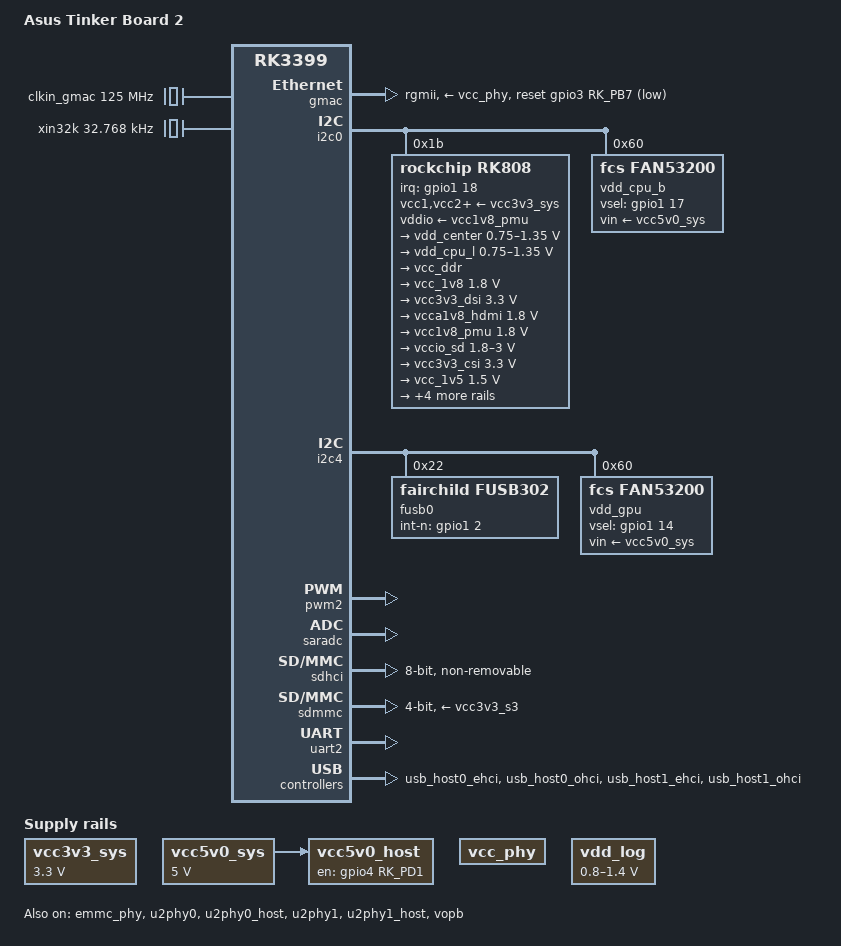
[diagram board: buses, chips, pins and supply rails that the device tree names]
// SPDX-License-Identifier: (GPL-2.0+ OR MIT)
/*
 * Copyright (c) 2016 Fuzhou Rockchip Electronics Co., Ltd
 */

/dts-v1/;
#include <dt-bindings/pwm/pwm.h>
#include "rk3399.dtsi"
#include "rk3399-op1-opp.dtsi"

/ {
	model = "Asus Tinker Board 2";
	compatible = "rockchip,rk3399-evb", "rockchip,rk3399";

	chosen {
		stdout-path = "serial2:1500000n8";
	};
	
	clkin_gmac: external-gmac-clock {
		compatible = "fixed-clock";
		clock-frequency = <125000000>;
		clock-output-names = "clkin_gmac";
		#clock-cells = <0>;
	};

	vcc3v3_sys: vcc3v3-sys {
		compatible = "regulator-fixed";
		regulator-name = "vcc3v3_sys";
		regulator-always-on;
		regulator-boot-on;
		regulator-min-microvolt = <3300000>;
		regulator-max-microvolt = <3300000>;
	};

	vcc5v0_host: vcc5v0-host-regulator {
		compatible = "regulator-fixed";
		enable-active-high;
		gpio = <&gpio4 RK_PD1 GPIO_ACTIVE_HIGH>;
		pinctrl-names = "default";
		pinctrl-0 = <&vcc5v0_host_en>;
		regulator-name = "vcc5v0_host";
		vin-supply = <&vcc5v0_sys>;
	};

	vcc5v0_sys: vcc5v0-sys {
		compatible = "regulator-fixed";
		regulator-name = "vcc5v0_sys";
		regulator-always-on;
		regulator-boot-on;
		regulator-min-microvolt = <5000000>;
		regulator-max-microvolt = <5000000>;
	};
	
	vcc_phy: vcc-phy-regulator {
		compatible = "regulator-fixed";
		regulator-name = "vcc_phy";
		regulator-always-on;
		regulator-boot-on;
	};
	
	vdd_log: vdd-log {
		compatible = "pwm-regulator";
		pwms = <&pwm2 0 25000 1>;
		regulator-name = "vdd_log";
		regulator-min-microvolt = <800000>;
		regulator-max-microvolt = <1400000>;
		regulator-always-on;
		regulator-boot-on;

		/* for rockchip boot on */
		rockchip,pwm_id= <2>;
		rockchip,pwm_voltage = <900000>;
	};
	
	xin32k: xin32k {
		compatible = "fixed-clock";
		clock-frequency = <32768>;
		clock-output-names = "xin32k";
		#clock-cells = <0>;
	};
};

&cpu_l0 {
	cpu-supply = <&vdd_cpu_l>;
};

&cpu_l1 {
	cpu-supply = <&vdd_cpu_l>;
};

&cpu_l2 {
	cpu-supply = <&vdd_cpu_l>;
};

&cpu_l3 {
	cpu-supply = <&vdd_cpu_l>;
};

&cpu_b0 {
	cpu-supply = <&vdd_cpu_b>;
};

&cpu_b1 {
	cpu-supply = <&vdd_cpu_b>;
};

&emmc_phy {
	status = "okay";
};

&gmac {
	assigned-clocks = <&cru SCLK_RMII_SRC>;
	assigned-clock-parents = <&clkin_gmac>;
	clock_in_out = "input";
	phy-supply = <&vcc_phy>;
	phy-mode = "rgmii";
	pinctrl-names = "default";
	pinctrl-0 = <&rgmii_pins>;
	snps,reset-gpio = <&gpio3 RK_PB7 GPIO_ACTIVE_LOW>;
	snps,reset-active-low;
	snps,reset-delays-us = <0 16000 72000>;
	tx_delay = <0x25>;
	rx_delay = <0x20>;
	wakeup-enable = "0";
	status = "okay";
};

&i2c0 {
	status = "okay";

	rk808: pmic@1b {
		compatible = "rockchip,rk808";
		reg = <0x1b>;
		interrupt-parent = <&gpio1>;
		interrupts = <18 IRQ_TYPE_LEVEL_LOW>;
		pinctrl-names = "default";
		pinctrl-0 = <&pmic_int_l>;
		rockchip,system-power-controller;
		wakeup-source;
		#clock-cells = <1>;
		clock-output-names = "rk808-clkout1", "rk808-clkout2";

		vcc1-supply = <&vcc3v3_sys>;
		vcc2-supply = <&vcc3v3_sys>;
		vcc3-supply = <&vcc3v3_sys>;
		vcc4-supply = <&vcc3v3_sys>;
		vcc6-supply = <&vcc3v3_sys>;
		vcc7-supply = <&vcc3v3_sys>;
		vcc8-supply = <&vcc3v3_sys>;
		vcc9-supply = <&vcc3v3_sys>;
		vcc10-supply = <&vcc3v3_sys>;
		vcc11-supply = <&vcc3v3_sys>;
		vcc12-supply = <&vcc3v3_sys>;
		vddio-supply = <&vcc1v8_pmu>;

		regulators {
			vdd_center: DCDC_REG1 {
				regulator-name = "vdd_center";
				regulator-min-microvolt = <750000>;
				regulator-max-microvolt = <1350000>;
				regulator-ramp-delay = <6001>;
				regulator-always-on;
				regulator-boot-on;
				regulator-state-mem {
					regulator-on-in-suspend;
					regulator-suspend-microvolt = <900000>;
				};
			};

			vdd_cpu_l: DCDC_REG2 {
				regulator-name = "vdd_cpu_l";
				regulator-min-microvolt = <750000>;
				regulator-max-microvolt = <1350000>;
				regulator-ramp-delay = <6001>;
				regulator-always-on;
				regulator-boot-on;
				regulator-state-mem {
					regulator-off-in-suspend;
				};
			};

			vcc_ddr: DCDC_REG3 {
				regulator-name = "vcc_ddr";
				regulator-always-on;
				regulator-boot-on;
				regulator-state-mem {
					regulator-on-in-suspend;
				};
			};

			vcc_1v8: DCDC_REG4 {
				regulator-name = "vcc_1v8";
				regulator-min-microvolt = <1800000>;
				regulator-max-microvolt = <1800000>;
				regulator-always-on;
				regulator-boot-on;
				regulator-state-mem {
					regulator-on-in-suspend;
					regulator-suspend-microvolt = <1800000>;
				};
			};

			vcc3v3_dsi: LDO_REG1 {
				regulator-name = "vcc3v3_dsi";
				regulator-min-microvolt = <3300000>;
				regulator-max-microvolt = <3300000>;
				regulator-always-on;
				regulator-boot-on;
				regulator-state-mem {
					regulator-off-in-suspend;
				};
			};

			vcca1v8_hdmi: LDO_REG2 {
				regulator-name = "vcca1v8_hdmi";
				regulator-min-microvolt = <1800000>;
				regulator-max-microvolt = <1800000>;
				regulator-always-on;
				regulator-boot-on;
				regulator-state-mem {
					regulator-off-in-suspend;
				};
			};

			vcc1v8_pmu: LDO_REG3 {
				regulator-name = "vcc1v8_pmu";
				regulator-min-microvolt = <1800000>;
				regulator-max-microvolt = <1800000>;
				regulator-always-on;
				regulator-boot-on;
				regulator-state-mem {
					regulator-on-in-suspend;
					regulator-suspend-microvolt = <1800000>;
				};
			};

			vccio_sd: LDO_REG4 {
				regulator-name = "vccio_sd";
				regulator-min-microvolt = <1800000>;
				regulator-max-microvolt = <3000000>;
				regulator-always-on;
				regulator-boot-on;
				regulator-state-mem {
					regulator-on-in-suspend;
					regulator-suspend-microvolt = <3000000>;
				};
			};

			vcc3v3_csi: LDO_REG5 {
				regulator-name = "vcc3v3_csi";
				regulator-min-microvolt = <3300000>;
				regulator-max-microvolt = <3300000>;
				regulator-always-on;
				regulator-boot-on;
				regulator-state-mem {
					regulator-off-in-suspend;
				};
			};

			vcc_1v5: LDO_REG6 {
				regulator-name = "vcc_1v5";
				regulator-min-microvolt = <1500000>;
				regulator-max-microvolt = <1500000>;
				regulator-always-on;
				regulator-boot-on;
				regulator-state-mem {
					regulator-on-in-suspend;
					regulator-suspend-microvolt = <1500000>;
				};
			};

			vcca0v9_hdmi: LDO_REG7 {
				regulator-name = "vcca0v9_hdmi";
				regulator-min-microvolt = <900000>;
				regulator-max-microvolt = <900000>;
				regulator-always-on;
				regulator-boot-on;
				regulator-state-mem {
					regulator-off-in-suspend;
				};
			};

			vcc_3v0: LDO_REG8 {
				regulator-name = "vcc_3v0";
				regulator-min-microvolt = <3000000>;
				regulator-max-microvolt = <3000000>;
				regulator-always-on;
				regulator-boot-on;
				regulator-state-mem {
					regulator-on-in-suspend;
					regulator-suspend-microvolt = <3000000>;
				};
			};

			vcc3v3_s3: SWITCH_REG1 {
				regulator-name = "vcc3v3_s3";
				regulator-always-on;
				regulator-boot-on;
				regulator-state-mem {
					regulator-on-in-suspend;
				};
			};

			vcc3v3_s0: SWITCH_REG2 {
				regulator-name = "vcc3v3_s0";
				regulator-always-on;
				regulator-boot-on;
				regulator-state-mem {
					regulator-off-in-suspend;
				};
			};
		};
	};

	vdd_cpu_b: vdd_cpu_b {
		compatible = "fcs,fan53200";
		reg = <0x60>;
		vin-supply = <&vcc5v0_sys>;
		regulator-compatible = "fan53555-regulator";
		pinctrl-names = "default";
		pinctrl-0 = <&vsel1_gpio>;
		vsel-gpios = <&gpio1 17 GPIO_ACTIVE_HIGH>;
		regulator-name = "vdd_cpu_b";
		regulator-min-microvolt = <800000>;
		regulator-max-microvolt = <1250000>;
		regulator-ramp-delay = <1000>;
		fcs,suspend-voltage-selector = <1>;
		regulator-always-on;
		regulator-boot-on;
		status = "okay";
		
		regulator-initial-state = <3>;
			regulator-state-mem {
			regulator-off-in-suspend;
		};
	};
};

&i2c4 {

	status = "okay";
	i2c-scl-rising-time-ns = <475>;
	i2c-scl-falling-time-ns = <26>;
	fusb0: fusb30x@22 {
		compatible = "fairchild,fusb302";
		reg = <0x22>;
		pinctrl-names = "default";
		pinctrl-0 = <&fusb0_int>;
		int-n-gpios = <&gpio1 2 GPIO_ACTIVE_HIGH>;
		//vbus-5v-gpios = <&gpio2 0 GPIO_ACTIVE_HIGH>;
		status = "okay";
	};
	
	vdd_gpu: vdd_gpu {
		compatible = "fcs,fan53200";
		reg = <0x60>;
		vin-supply = <&vcc5v0_sys>;
		regulator-compatible = "fan53555-regulator";
		pinctrl-names = "default";
		pinctrl-0 = <&vsel2_gpio>;
		vsel-gpios = <&gpio1 14 GPIO_ACTIVE_HIGH>;
		regulator-name = "vdd_gpu";
		regulator-min-microvolt = <800000>;
		regulator-max-microvolt = <1200000>;
		regulator-ramp-delay = <1000>;
		fcs,suspend-voltage-selector = <1>;
		regulator-always-on;
		regulator-boot-on;
		status = "okay";
		
		regulator-initial-state = <3>;
			regulator-state-mem {
			regulator-off-in-suspend;
		};
	};
};	

&pcie_phy {
	status = "disabled";
};

&pcie0 {
	ep-gpios = <&gpio0 RK_PB4 GPIO_ACTIVE_HIGH>;
	num-lanes = <4>;
	pinctrl-names = "default";
	pinctrl-0 = <&pcie_clkreqn_cpm>;
	status = "disabled";
};

&pwm0 {
	status = "disabled";
};

&pwm2 {
	status = "okay";
	pinctrl-names = "active";
	pinctrl-0 = <&pwm2_pin_pull_down>;
};

&pwm3 {
	status = "disabled";
};

&saradc {
	status = "okay";
};

&sdhci {
	bus-width = <8>;
	mmc-hs400-1_8v;
	supports-emmc;
	mmc-hs400-enhanced-strobe;
	non-removable;
	keep-power-in-suspend;
	status = "okay";
};

&sdmmc {
	clock-frequency = <150000000>;
	clock-freq-min-max = <100000 150000000>;
	supports-sd;
	bus-width = <4>;
	cap-mmc-highspeed;
	cap-sd-highspeed;
	disable-wp;
	num-slots = <1>;
	//sd-uhs-sdr104;
	vmmc-supply = <&vcc3v3_s3>;
	vqmmc-supply = <&vccio_sd>;
	pinctrl-names = "default";
	pinctrl-0 = <&sdmmc_clk &sdmmc_cmd &sdmmc_cd &sdmmc_bus4>;
	status = "okay";
};

&u2phy0 {
	status = "okay";
};

&u2phy0_host {
	phy-supply = <&vcc5v0_host>;
	status = "okay";
};

&u2phy1 {
	status = "okay";
};

&u2phy1_host {
	phy-supply = <&vcc5v0_host>;
	status = "okay";
};

&uart2 {
	status = "okay";
};

&usb_host0_ehci {
	status = "okay";
};

&usb_host0_ohci {
	status = "okay";
};

&usb_host1_ehci {
	status = "okay";
};

&usb_host1_ohci {
	status = "okay";
};

&pinctrl {

	pmic {
		pmic_int_l: pmic-int-l {
			rockchip,pins =
				<1 18 RK_FUNC_GPIO &pcfg_pull_up>,
				<0 9 RK_FUNC_GPIO &pcfg_pull_none>; /* GPIO0_B1 */
		};
		vsel1_gpio: vsel1-gpio {
			rockchip,pins =
				<1 17 RK_FUNC_GPIO &pcfg_pull_down>;
		};
		vsel2_gpio: vsel2-gpio {
			rockchip,pins =
				<1 14 RK_FUNC_GPIO &pcfg_pull_down>;
		};	
	};

	usb2 {
		vcc5v0_host_en: vcc5v0-host-en {
			rockchip,pins =
				<4 RK_PD1 RK_FUNC_GPIO &pcfg_pull_none>;
		};
	};
	
	fusb30x {
		fusb0_int: fusb0-int {
			rockchip,pins = <1 2 RK_FUNC_GPIO &pcfg_pull_up>;
		};
	};
};

&vopb {
	status = "okay";
};

&vopb_mmu {
	status = "okay";
};
